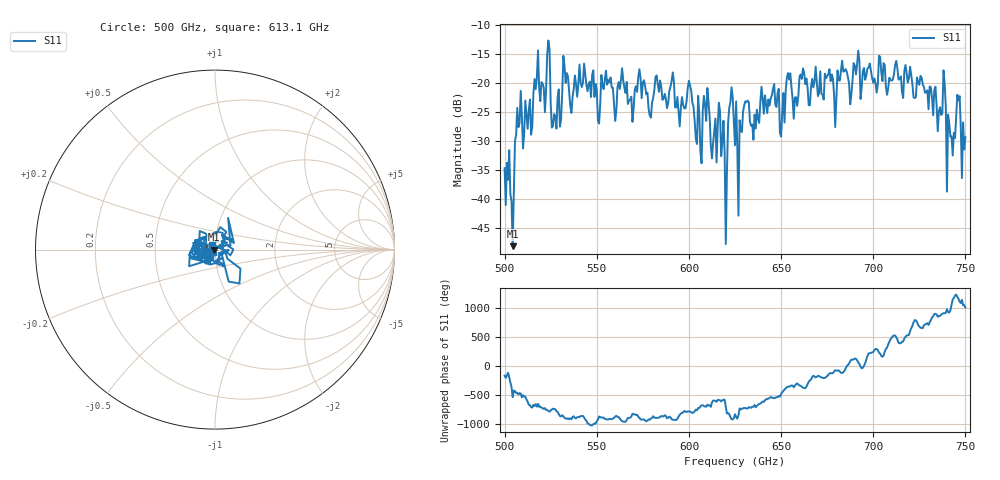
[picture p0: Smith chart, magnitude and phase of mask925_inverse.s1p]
!Created with skrf (http://scikit-rf.org).
# GHz S MA R 50.0
!freq magS11 angS11
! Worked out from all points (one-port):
!   401 points, 500 GHz to 750 GHz, reference 50 ohm
!   lowest |S11| = -48.1 dB at 504.4 GHz (marker M1), VSWR 1.01, Z = 49.6 - j0.0246 ohm
!   |S11| at or under -10 dB: start of sweep to end of sweep
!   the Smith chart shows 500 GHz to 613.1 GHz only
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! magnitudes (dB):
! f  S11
! 500 GHz  -34.7
! 504.4 GHz  -48.1
! 507.5 GHz  -27.6
! 513.8 GHz  -22.8
! 516.9 GHz  -21.1
! 523.8 GHz  -12.7
! 526.9 GHz  -25.4
! 531.2 GHz  -21.8
! 562.5 GHz  -21.0
! 579.4 GHz  -26.0
! 590.6 GHz  -19.6
! 593.8 GHz  -22.4
! 600.6 GHz  -20.5
! 605.6 GHz  -25.4
! 609.4 GHz  -26.5
! 612.5 GHz  -33.0
! 617.5 GHz  -32.6
! 619.4 GHz  -32.0
! 622.5 GHz  -23.3
! 625 GHz  -30.7
! 627.5 GHz  -26.4
! 631.2 GHz  -23.3
! 635 GHz  -29.8
! 656.2 GHz  -22.7
! 687.5 GHz  -23.7
! 691.2 GHz  -16.8
! 718.8 GHz  -19.9
! 750 GHz  -29.4
